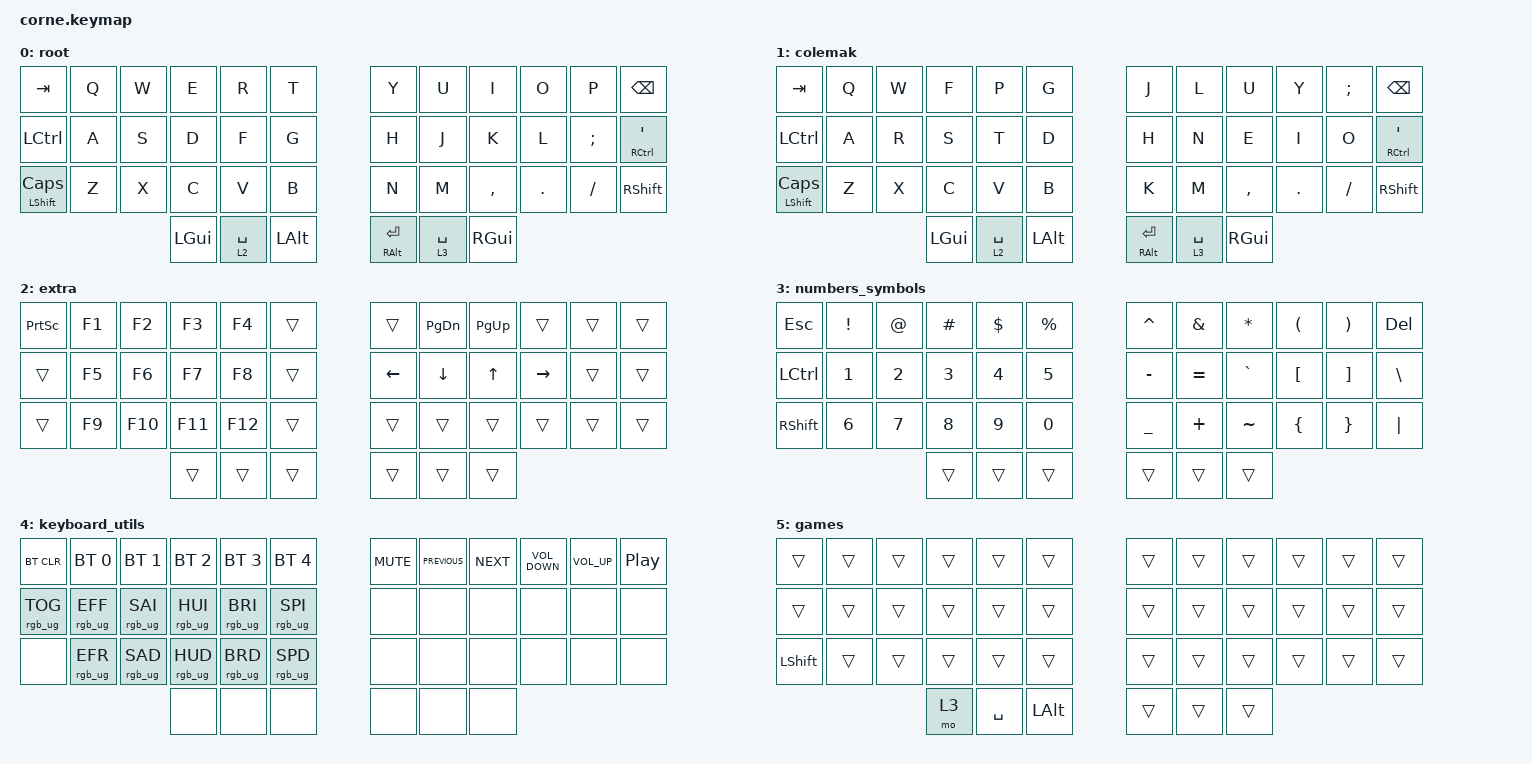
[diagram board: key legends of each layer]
/*
 * Copyright (c) 2020 The ZMK Contributors
 *
 * SPDX-License-Identifier: MIT
 */

#include <behaviors.dtsi>
#include <dt-bindings/zmk/bt.h>
#include <dt-bindings/zmk/keys.h>
#include <dt-bindings/zmk/rgb.h>

/ {
    behaviors {
        hm: homerow_mods {
            compatible = "zmk,behavior-hold-tap";
            label = "HOMEROW_MODS";
            #binding-cells = <2>;
            tapping-term-ms = <200>;
            quick_tap_ms = <0>;
            flavor = "tap-preferred";
            bindings = <&kp>, <&kp>;

            quick-tap-ms = <180>;
            global-quick-tap;
        };

        ltq: ltq {
            compatible = "zmk,behavior-hold-tap";
            label = "LTQ";
            bindings = <&mo>, <&kp>;

            #binding-cells = <2>;
            tapping-term-ms = <600>;
            global-quick-tap;
            quick-tap-ms = <400>;
        };
    };

    combos {
        compatible = "zmk,combos";

        left_bkt {
            bindings = <&kp LEFT_BRACKET>;
            key-positions = <4 3>;
            timeout-ms = <50>;
        };

        right_bkt {
            bindings = <&kp RBKT>;
            key-positions = <7 8>;
            timeout-ms = <50>;
        };

        left_par {
            bindings = <&kp LEFT_PARENTHESIS>;
            key-positions = <15 16>;
            timeout-ms = <50>;
        };

        right_par {
            bindings = <&kp RIGHT_PARENTHESIS>;
            key-positions = <19 20>;
            timeout-ms = <50>;
        };

        left_brace {
            bindings = <&kp LEFT_BRACE>;
            key-positions = <27 28>;
            timeout-ms = <50>;
        };

        right_brace {
            bindings = <&kp RIGHT_BRACE>;
            key-positions = <32 31>;
            timeout-ms = <50>;
        };

        bac {
            bindings = <&kp BACKSLASH>;
            key-positions = <5 6>;
        };

        pipe {
            bindings = <&kp PIPE>;
            key-positions = <17 18>;
        };

        toggle_games {
            bindings = <&tog 5>;
            key-positions = <11 0>;
        };

        toggle_colemak {
            bindings = <&tog 1>;
            key-positions = <0 1 10 11>;
        };
    };

    keymap {
        compatible = "zmk,keymap";

        root {
            bindings = <
&kp TAB                  &kp Q  &kp W  &kp E         &kp R        &kp T         &kp Y            &kp U        &kp I      &kp O    &kp P          &kp BSPC
&kp LCTRL                &kp A  &kp S  &kp D         &kp F        &kp G         &kp H            &kp J        &kp K      &kp L    &kp SEMICOLON  &hm RIGHT_CONTROL APOSTROPHE
&mt LEFT_SHIFT CAPSLOCK  &kp Z  &kp X  &kp C         &kp V        &kp B         &kp N            &kp M        &kp COMMA  &kp DOT  &kp FSLH       &kp RIGHT_SHIFT
                                       &kp LEFT_GUI  &lt 2 SPACE  &kp LEFT_ALT  &hm RALT RETURN  &lt 3 SPACE  &kp RGUI
            >;
        };

        colemak {
            bindings = <
&kp TAB                  &kp Q  &kp W  &kp F         &kp P        &kp G         &kp J            &kp L        &kp U          &kp Y       &kp SEMICOLON  &kp BACKSPACE
&kp LEFT_CONTROL         &kp A  &kp R  &kp S         &kp T        &kp D         &kp H            &kp N        &kp E          &kp I       &kp O          &hm RIGHT_CONTROL APOSTROPHE
&mt LEFT_SHIFT CAPSLOCK  &kp Z  &kp X  &kp C         &kp V        &kp B         &kp K            &kp M        &kp COMMA      &kp PERIOD  &kp FSLH       &kp RIGHT_SHIFT
                                       &kp LEFT_GUI  &lt 2 SPACE  &kp LEFT_ALT  &hm RALT RETURN  &lt 3 SPACE  &kp RIGHT_GUI
            >;
        };

        extra {
            bindings = <
&kp PRINTSCREEN  &kp F1  &kp F2   &kp F3   &kp F4   &trans  &trans          &kp PAGE_DOWN   &kp PAGE_UP   &trans           &trans  &trans
&trans           &kp F5  &kp F6   &kp F7   &kp F8   &trans  &kp LEFT_ARROW  &kp DOWN_ARROW  &kp UP_ARROW  &kp RIGHT_ARROW  &trans  &trans
&trans           &kp F9  &kp F10  &kp F11  &kp F12  &trans  &trans          &trans          &trans        &trans           &trans  &trans
                                  &trans   &trans   &trans  &trans          &trans          &trans
            >;
        };

        numbers_symbols {
            bindings = <
&kp ESCAPE        &kp EXCL      &kp AT_SIGN   &kp HASH      &kp DOLLAR    &kp PERCENT   &kp CARET       &kp AMPERSAND  &kp ASTERISK  &kp LEFT_PARENTHESIS  &kp RIGHT_PARENTHESIS  &kp DELETE
&kp LEFT_CONTROL  &kp NUMBER_1  &kp NUMBER_2  &kp NUMBER_3  &kp NUMBER_4  &kp NUMBER_5  &kp MINUS       &kp EQUAL      &kp GRAVE     &kp LEFT_BRACKET      &kp RIGHT_BRACKET      &kp BACKSLASH
&kp RIGHT_SHIFT   &kp NUMBER_6  &kp NUMBER_7  &kp NUMBER_8  &kp NUMBER_9  &kp NUMBER_0  &kp UNDERSCORE  &kp PLUS       &kp TILDE     &kp LEFT_BRACE        &kp RIGHT_BRACE        &kp PIPE
                                              &trans        &trans        &trans        &trans          &trans         &trans
            >;
        };

        keyboard_utils {
            bindings = <
&bt BT_CLR       &bt BT_SEL 0     &bt BT_SEL 1     &bt BT_SEL 2     &bt BT_SEL 3     &bt BT_SEL 4     &kp C_MUTE  &kp C_PREVIOUS  &kp C_NEXT  &kp C_VOLUME_DOWN  &kp C_VOLUME_UP  &kp C_PLAY_PAUSE
&rgb_ug RGB_TOG  &rgb_ug RGB_EFF  &rgb_ug RGB_SAI  &rgb_ug RGB_HUI  &rgb_ug RGB_BRI  &rgb_ug RGB_SPI  &none       &none           &none       &none              &none            &none
&none            &rgb_ug RGB_EFR  &rgb_ug RGB_SAD  &rgb_ug RGB_HUD  &rgb_ug RGB_BRD  &rgb_ug RGB_SPD  &none       &none           &none       &none              &none            &none
                                                   &none            &none            &none            &none       &none           &none
            >;
        };

        games {
            bindings = <
&trans          &trans  &trans  &trans  &trans     &trans        &trans  &trans  &trans  &trans  &trans  &trans
&trans          &trans  &trans  &trans  &trans     &trans        &trans  &trans  &trans  &trans  &trans  &trans
&kp LEFT_SHIFT  &trans  &trans  &trans  &trans     &trans        &trans  &trans  &trans  &trans  &trans  &trans
                                &mo 3   &kp SPACE  &kp LEFT_ALT  &trans  &trans  &trans
            >;
        };
    };

    conditional_layers {
        compatible = "zmk,conditional-layers";

        two-three {
            if-layers = <3 2>;
            then-layer = <4>;
        };
    };
};
